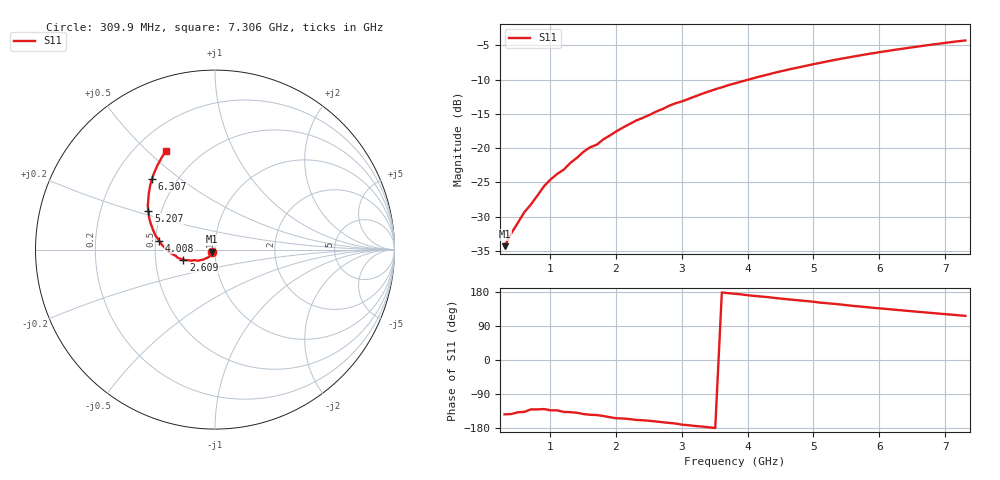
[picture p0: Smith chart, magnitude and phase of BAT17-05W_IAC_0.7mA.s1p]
! Infineon Technologies  Discrete & RF Semiconductors
! BAT17-05W
! IAC = 0.7 mA
! One-Port S-Parameters
# Hz  S  MA  R  50
!f  S11
!Hz  Mag  Ang
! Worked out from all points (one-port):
!   71 points, 309.9 MHz to 7.306 GHz, reference 50 ohm
!   lowest |S11| = -34.3 dB at 309.9 MHz (marker M1), VSWR 1.04, Z = 48.5 - j1.11 ohm
!   |S11| at or under -10 dB: start of sweep to 4.008 GHz
!   S11 on the Smith chart (normalised r, x): 309.9 MHz: 0.97, -0.02; 2.609 GHz: 0.70, -0.08; 4.008 GHz: 0.52, +0.06; 5.207 GHz: 0.42, +0.22; 6.307 GHz: 0.36, +0.40; 7.306 GHz: 0.33, +0.57
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3.0985e8  0.01923 -143.5
4.098e8  0.02382 -142.7
6.097e8  0.03404 -136.8
7.0965e8  0.03881 -130.3
9.0955e8  0.05278 -129.4
1.0095e9  0.05912 -132.9
1.2094e9  0.06978 -137.1
1.30935e9  0.07809 -137.6
1.50925e9  0.09415 -142.7
1.6092e9  0.1016 -144.5
1.70915e9  0.106 -145.3
1.8091e9  0.1159 -147.7
2.10895e9  0.1415 -154.3
2.30885e9  0.1592 -158.1
2.6087e9  0.1847 -162.3
2.8086e9  0.2041 -166.0
3.0085e9  0.2199 -170.7
3.30835e9  0.2495 -175.7
3.8081e9  0.2973 174.8
4.008e9  0.3162 170.8
4.30785e9  0.3448 165.9
4.70765e9  0.3829 158.6
5.2074e9  0.4298 149.8
5.6072e9  0.4665 142.7
6.30685e9  0.5283 131.6
6.50675e9  0.5454 128.4
6.8066e9  0.5709 124.0
7.30635e9  0.6115 116.4
